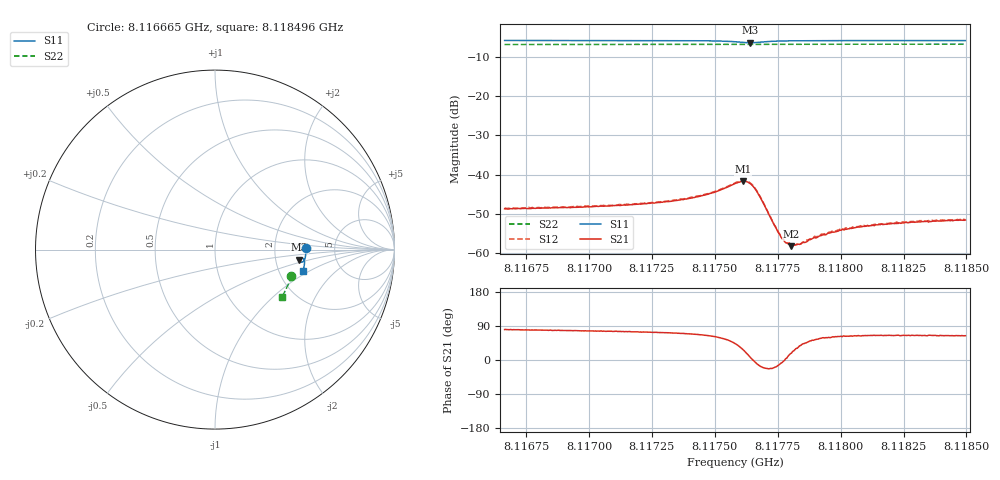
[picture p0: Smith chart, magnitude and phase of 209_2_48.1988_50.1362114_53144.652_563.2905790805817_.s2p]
#  HZ  S  RI  R  50.00
! Rohde & Schwarz Vector Network Analyzer
! Rohde-Schwarz,ZNB20-2Port,1311601062101988,3.16
! Created: UTC 3/20/2024, 11:45:21 AM
! freq[Hz]  re:S11  im:S11  re:S21  im:S21  re:S12  im:S12  re:S22  im:S22
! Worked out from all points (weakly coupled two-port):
!   401 points, 8.116665 GHz to 8.118496 GHz, reference 50 ohm
!   highest |S21| = -41.70 dB at 8.117612 GHz (marker M1); lowest = -58.2 dB at 8.117805 GHz (marker M2)
!   lowest |S11| = -6.5 dB at 8.11764 GHz (marker M3), VSWR 2.80, Z = 137 - j20 ohm
!   |S11| at or under -10 dB: nowhere
!   |S22| runs from -6.9 to -6.8 dB; largest |S21 - S12| = 0.00021
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8.1166649e9  0.5068 0.00878  0.000609 0.00362  0.000684 0.00368  0.4255 -0.147
8.1169716e9  0.5061 -0.015  0.00088 0.00376  0.000935 0.00384  0.4188 -0.1672
8.1172783e9  0.5035 -0.0401  0.00133 0.0042  0.00138 0.0043  0.4111 -0.1872
8.1173836e9  0.5016 -0.0498  0.00171 0.00459  0.00181 0.00463  0.4083 -0.1942
8.1174477e9  0.4994 -0.0563  0.00216 0.00493  0.00222 0.00499  0.4066 -0.1983
8.1175072e9  0.4954 -0.0632  0.00297 0.00533  0.0031 0.00538  0.4046 -0.2022
8.1175804e9  0.4832 -0.0701  0.00557 0.00531  0.0057 0.00531  0.4018 -0.2067
8.1176125e9  0.4741 -0.0667  0.00731 0.00377  0.00747 0.00376  0.4007 -0.2084
8.1176399e9  0.4703 -0.0569  0.00763 0.00108  0.0078 0.00103  0.3999 -0.2095
8.1176537e9  0.4722 -0.0514  0.007 -0.000196  0.00715 -0.000262  0.3997 -0.2102
8.117672e9  0.4776 -0.0471  0.00561 -0.00125  0.0057 -0.00135  0.3993 -0.2112
8.117736e9  0.4933 -0.0514  0.00216 -0.000793  0.00216 -0.000794  0.3982 -0.2153
8.1177635e9  0.496 -0.0555  0.00158 -0.000227  0.00166 -0.000243  0.3974 -0.2172
8.1177818e9  0.4971 -0.0582  0.00136 8.17e-05  0.00141 8.17e-05  0.3969 -0.2183
8.1178047e9  0.498 -0.0612  0.00117 0.000384  0.00123 0.000425  0.3962 -0.22
8.1178322e9  0.4985 -0.0647  0.00108 0.000727  0.0011 0.000748  0.3953 -0.2216
8.1178871e9  0.4987 -0.0706  0.000934 0.00121  0.000976 0.00123  0.3936 -0.2252
8.1179604e9  0.4985 -0.0778  0.000932 0.00157  0.000948 0.00161  0.3911 -0.2298
8.1180244e9  0.4978 -0.0834  0.000919 0.00179  0.000956 0.00186  0.389 -0.2338
8.1181938e9  0.4955 -0.0974  0.000984 0.00214  0.00104 0.00218  0.3833 -0.2442
8.118322e9  0.4935 -0.1073  0.00108 0.00228  0.00113 0.00234  0.3788 -0.2519
8.1184959e9  0.4904 -0.1204  0.00116 0.00238  0.00119 0.0024  0.3721 -0.2623
